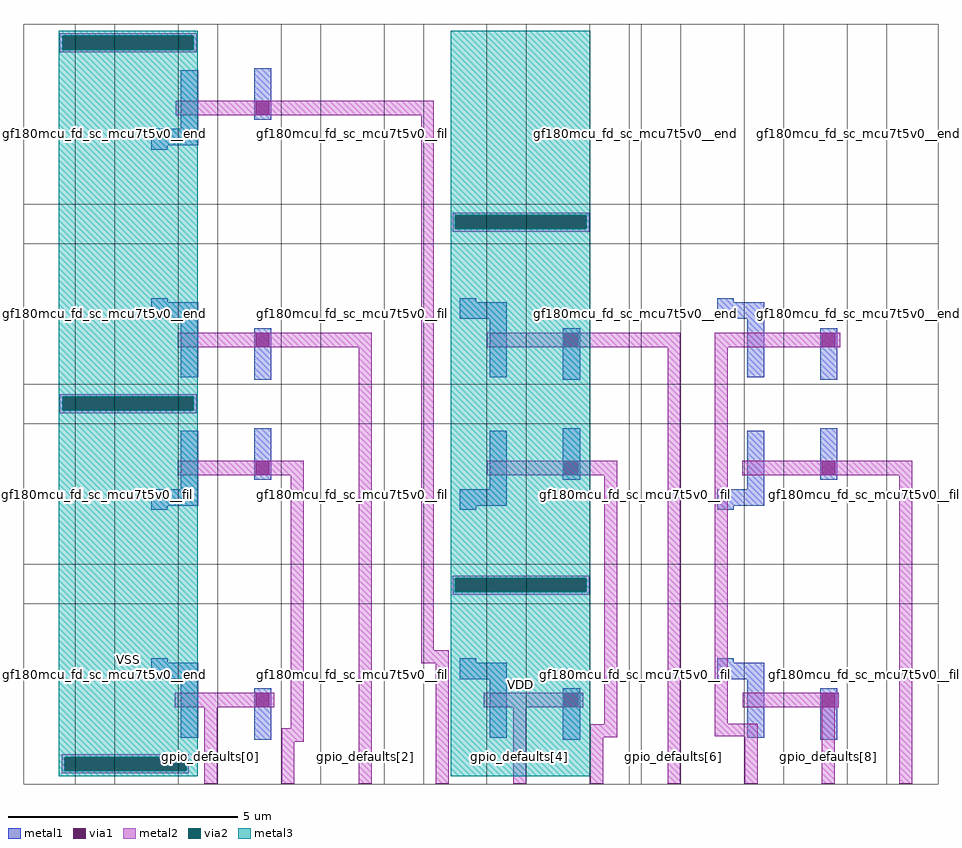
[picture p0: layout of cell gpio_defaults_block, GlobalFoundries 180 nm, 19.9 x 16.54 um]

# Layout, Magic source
magic
tech gf180mcuD
magscale 1 10
<< metal1 >>
rect 598 2766 673 3020
rect 916 2806 991 3030
rect 468 2694 673 2766
rect 468 2675 540 2694
rect 468 2010 540 2029
rect 1812 2010 1884 2029
rect 2932 2010 3004 2029
rect 468 1938 673 2010
rect 1812 1938 2017 2010
rect 2932 1938 3137 2010
rect 598 1684 673 1938
rect 916 1674 991 1898
rect 1942 1684 2017 1938
rect 2260 1674 2335 1898
rect 3062 1684 3137 1938
rect 3380 1674 3455 1898
rect 598 1198 673 1452
rect 916 1238 991 1462
rect 1942 1198 2017 1452
rect 2260 1238 2335 1462
rect 3062 1198 3137 1452
rect 3380 1238 3455 1462
rect 468 1126 673 1198
rect 1812 1126 2017 1198
rect 2932 1126 3137 1198
rect 468 1107 540 1126
rect 1812 1107 1884 1126
rect 2932 1107 3004 1126
rect 468 442 540 461
rect 1812 442 1884 461
rect 2932 442 3004 461
rect 468 370 673 442
rect 1812 370 2017 442
rect 2932 370 3137 442
rect 598 116 673 370
rect 916 106 991 330
rect 1942 116 2017 370
rect 2260 106 2335 330
rect 3062 116 3137 370
rect 3380 106 3455 330
<< via1 >>
rect 83 3110 652 3170
rect 1793 2330 2362 2390
rect 83 1540 652 1600
rect 1793 750 2362 810
rect 92 -29 621 31
rect 923 2827 983 2887
rect 923 1817 983 1877
rect 2267 1817 2327 1877
rect 3387 1817 3447 1877
rect 923 1259 983 1319
rect 2267 1259 2327 1319
rect 3387 1259 3447 1319
rect 923 249 983 309
rect 2267 249 2327 309
rect 3387 249 3447 309
<< metal2 >>
rect 70 3170 666 3181
rect 70 3110 83 3170
rect 652 3110 666 3170
rect 70 3098 666 3110
rect 576 2825 1699 2889
rect 585 1815 1428 1879
rect 70 1600 666 1611
rect 70 1540 83 1600
rect 652 1540 666 1600
rect 70 1528 666 1540
rect 585 1257 1132 1321
rect 572 247 1004 311
rect 80 31 633 43
rect 80 -29 92 31
rect 621 -29 633 31
rect 80 -40 633 -29
rect 700 -84 756 247
rect 1076 157 1132 1257
rect 1036 97 1132 157
rect 1036 -84 1092 97
rect 1372 -84 1428 1815
rect 1643 496 1699 2825
rect 1780 2390 2376 2401
rect 1780 2330 1793 2390
rect 2362 2330 2376 2390
rect 1780 2318 2376 2330
rect 1929 1815 2772 1879
rect 1929 1257 2496 1321
rect 1780 810 2376 821
rect 1780 750 1793 810
rect 2362 750 2376 810
rect 1780 738 2376 750
rect 1643 440 1764 496
rect 1708 -84 1764 440
rect 1915 247 2348 311
rect 2044 -84 2100 247
rect 2440 174 2496 1257
rect 2380 118 2496 174
rect 2380 -84 2436 118
rect 2716 -84 2772 1815
rect 2921 1815 3468 1879
rect 2921 177 2977 1815
rect 3041 1257 3780 1321
rect 3043 247 3462 311
rect 2921 121 3108 177
rect 3052 -84 3108 121
rect 3388 -84 3444 247
rect 3724 -84 3780 1257
<< via2 >>
rect 83 3110 652 3170
rect 83 1540 652 1600
rect 92 -29 621 31
rect 1793 2330 2362 2390
rect 1793 750 2362 810
<< metal3 >>
rect 66 3170 672 3192
rect 66 3110 83 3170
rect 652 3110 672 3170
rect 66 1600 672 3110
rect 66 1540 83 1600
rect 652 1540 672 1600
rect 66 31 672 1540
rect 66 -29 92 31
rect 621 -29 672 31
rect 66 -53 672 -29
rect 1773 2390 2379 3192
rect 1773 2330 1793 2390
rect 2362 2330 2379 2390
rect 1773 810 2379 2330
rect 1773 750 1793 810
rect 2362 750 2379 810
rect 1773 -53 2379 750
use gf180mcu_fd_sc_mcu7t5v0__endcap  ENDCAP_0 $PDKPATH/libs.ref/gf180mcu_fd_sc_mcu7t5v0/mag
transform 1 0 0 0 1 0
box -86 -86 310 870
use gf180mcu_fd_sc_mcu7t5v0__endcap  ENDCAP_1
transform 1 0 2464 0 -1 3136
box -86 -86 310 870
use gf180mcu_fd_sc_mcu7t5v0__endcap  ENDCAP_2
transform 1 0 3584 0 -1 3136
box -86 -86 310 870
use gf180mcu_fd_sc_mcu7t5v0__endcap  ENDCAP_3
transform 1 0 0 0 -1 3136
box -86 -86 310 870
use gf180mcu_fd_sc_mcu7t5v0__endcap  ENDCAP_4
transform 1 0 0 0 1 1568
box -86 -86 310 870
use gf180mcu_fd_sc_mcu7t5v0__endcap  ENDCAP_5
transform 1 0 2464 0 1 1568
box -86 -86 310 870
use gf180mcu_fd_sc_mcu7t5v0__endcap  ENDCAP_6
transform 1 0 3584 0 1 1568
box -86 -86 310 870
use gf180mcu_fd_sc_mcu7t5v0__fillcap_4  FILLCAP_4_0 $PDKPATH/libs.ref/gf180mcu_fd_sc_mcu7t5v0/mag
transform 1 0 1120 0 1 0
box -86 -86 534 870
use gf180mcu_fd_sc_mcu7t5v0__fillcap_4  FILLCAP_4_1
transform 1 0 1120 0 -1 3136
box -86 -86 534 870
use gf180mcu_fd_sc_mcu7t5v0__fillcap_4  FILLCAP_4_2
transform 1 0 2016 0 -1 3136
box -86 -86 534 870
use gf180mcu_fd_sc_mcu7t5v0__fillcap_4  FILLCAP_4_3
transform 1 0 1120 0 -1 1568
box -86 -86 534 870
use gf180mcu_fd_sc_mcu7t5v0__fillcap_4  FILLCAP_4_4
transform 1 0 3136 0 -1 3136
box -86 -86 534 870
use gf180mcu_fd_sc_mcu7t5v0__fillcap_4  FILLCAP_4_5
transform 1 0 1568 0 -1 3136
box -86 -86 534 870
use gf180mcu_fd_sc_mcu7t5v0__fillcap_4  FILLCAP_4_6
transform 1 0 1120 0 1 1568
box -86 -86 534 870
use gf180mcu_fd_sc_mcu7t5v0__fillcap_4  FILLCAP_4_7
transform 1 0 2688 0 -1 3136
box -86 -86 534 870
use gf180mcu_fd_sc_mcu7t5v0__filltie  FILLTIE_0 $PDKPATH/libs.ref/gf180mcu_fd_sc_mcu7t5v0/mag
transform 1 0 2464 0 1 0
box -86 -86 310 870
use gf180mcu_fd_sc_mcu7t5v0__filltie  FILLTIE_1
transform 1 0 3584 0 1 0
box -86 -86 310 870
use gf180mcu_fd_sc_mcu7t5v0__filltie  FILLTIE_2
transform 1 0 3584 0 -1 1568
box -86 -86 310 870
use gf180mcu_fd_sc_mcu7t5v0__filltie  FILLTIE_4
transform 1 0 0 0 -1 1568
box -86 -86 310 870
use gf180mcu_fd_sc_mcu7t5v0__filltie  FILLTIE_5
transform 1 0 2464 0 -1 1568
box -86 -86 310 870
use gf180mcu_fd_sc_mcu7t5v0__tieh  gpio_default_value_one[0] $PDKPATH/libs.ref/gf180mcu_fd_sc_mcu7t5v0/mag
transform 1 0 224 0 1 0
box -86 -86 534 870
use gf180mcu_fd_sc_mcu7t5v0__tieh  gpio_default_value_one[1]
transform 1 0 224 0 -1 1568
box -86 -86 534 870
use gf180mcu_fd_sc_mcu7t5v0__tieh  gpio_default_value_one[2]
transform 1 0 224 0 1 1568
box -86 -86 534 870
use gf180mcu_fd_sc_mcu7t5v0__tieh  gpio_default_value_one[3]
transform 1 0 224 0 -1 3136
box -86 -86 534 870
use gf180mcu_fd_sc_mcu7t5v0__tieh  gpio_default_value_one[4]
transform 1 0 1568 0 1 0
box -86 -86 534 870
use gf180mcu_fd_sc_mcu7t5v0__tieh  gpio_default_value_one[5]
transform 1 0 1568 0 -1 1568
box -86 -86 534 870
use gf180mcu_fd_sc_mcu7t5v0__tieh  gpio_default_value_one[6]
transform 1 0 1568 0 1 1568
box -86 -86 534 870
use gf180mcu_fd_sc_mcu7t5v0__tieh  gpio_default_value_one[8]
transform 1 0 2688 0 1 0
box -86 -86 534 870
use gf180mcu_fd_sc_mcu7t5v0__tieh  gpio_default_value_one[9]
transform 1 0 2688 0 -1 1568
box -86 -86 534 870
use gf180mcu_fd_sc_mcu7t5v0__tieh  gpio_default_value_one[7]
transform 1 0 2688 0 1 1568
box -86 -86 534 870
use gf180mcu_fd_sc_mcu7t5v0__tiel  gpio_default_value_zero[0] $PDKPATH/libs.ref/gf180mcu_fd_sc_mcu7t5v0/mag
transform 1 0 672 0 1 0
box -86 -86 534 870
use gf180mcu_fd_sc_mcu7t5v0__tiel  gpio_default_value_zero[1]
transform 1 0 672 0 -1 1568
box -86 -86 534 870
use gf180mcu_fd_sc_mcu7t5v0__tiel  gpio_default_value_zero[2]
transform 1 0 672 0 1 1568
box -86 -86 534 870
use gf180mcu_fd_sc_mcu7t5v0__tiel  gpio_default_value_zero[3]
transform 1 0 672 0 -1 3136
box -86 -86 534 870
use gf180mcu_fd_sc_mcu7t5v0__tiel  gpio_default_value_zero[4]
transform 1 0 2016 0 1 0
box -86 -86 534 870
use gf180mcu_fd_sc_mcu7t5v0__tiel  gpio_default_value_zero[5]
transform 1 0 2016 0 -1 1568
box -86 -86 534 870
use gf180mcu_fd_sc_mcu7t5v0__tiel  gpio_default_value_zero[6]
transform 1 0 2016 0 1 1568
box -86 -86 534 870
use gf180mcu_fd_sc_mcu7t5v0__tiel  gpio_default_value_zero[8]
transform 1 0 3136 0 1 0
box -86 -86 534 870
use gf180mcu_fd_sc_mcu7t5v0__tiel  gpio_default_value_zero[9]
transform 1 0 3136 0 -1 1568
box -86 -86 534 870
use gf180mcu_fd_sc_mcu7t5v0__tiel  gpio_default_value_zero[7]
transform 1 0 3136 0 1 1568
box -86 -86 534 870
<< labels >>
flabel metal3 1773 -53 2379 750 0 FreeSans 1600 0 0 0 VDD
port 11 nsew
flabel metal3 66 55 672 858 0 FreeSans 1600 0 0 0 VSS
port 12 nsew
flabel metal2 700 -84 756 150 0 FreeSans 400 90 0 0 gpio_defaults[0]
port 1 nsew
flabel metal2 1036 -84 1092 150 0 FreeSans 400 90 0 0 gpio_defaults[1]
port 5 nsew
flabel metal2 1372 -84 1428 150 0 FreeSans 400 90 0 0 gpio_defaults[2]
port 9 nsew
flabel metal2 1708 -84 1764 150 0 FreeSans 400 90 0 0 gpio_defaults[3]
port 8 nsew
flabel metal2 2044 -84 2100 150 0 FreeSans 400 90 0 0 gpio_defaults[4]
port 2 nsew
flabel metal2 2380 -84 2436 150 0 FreeSans 400 90 0 0 gpio_defaults[5]
port 6 nsew
flabel metal2 2716 -84 2772 150 0 FreeSans 400 90 0 0 gpio_defaults[6]
port 10 nsew
flabel metal2 3052 -84 3108 150 0 FreeSans 400 90 0 0 gpio_defaults[7]
port 4 nsew
flabel metal2 3388 -84 3444 150 0 FreeSans 400 90 0 0 gpio_defaults[8]
port 3 nsew
flabel metal2 3724 -84 3780 150 0 FreeSans 400 90 0 0 gpio_defaults[9]
port 7 nsew
<< end >>
